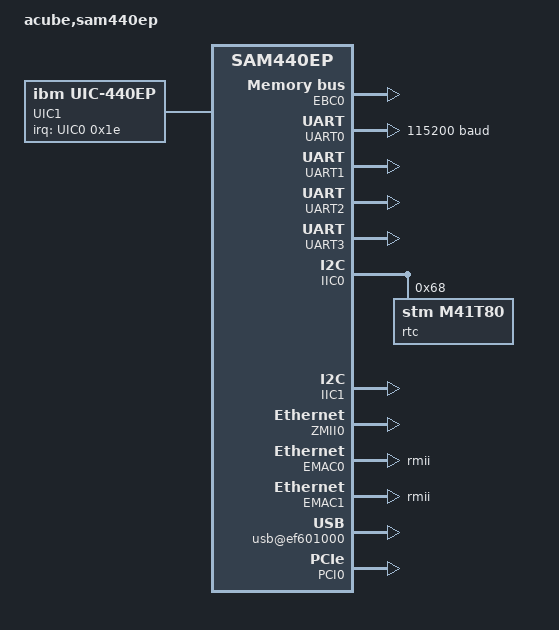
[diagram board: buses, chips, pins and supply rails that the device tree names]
/*
 * Device Tree Source for ACube Sam440ep  based off bamboo.dts code 
 * original copyrights below 
 *
 * Copyright (c) 2006, 2007 IBM Corp.
 * Josh Boyer <jwboyer@linux.vnet.ibm.com>
 *
 * Modified from bamboo.dts for sam440ep:
 * Copyright 2008 Giuseppe Coviello <gicoviello@gmail.com>
 *
 * This file is licensed under the terms of the GNU General Public
 * License version 2.  This program is licensed "as is" without
 * any warranty of any kind, whether express or implied.
 */

/dts-v1/;

/ {
	#address-cells = <2>;
	#size-cells = <1>;
	model = "acube,sam440ep";
	compatible = "acube,sam440ep";

	aliases {
		ethernet0 = &EMAC0;
		ethernet1 = &EMAC1;
		serial0 = &UART0;
		serial1 = &UART1;
		serial2 = &UART2;
		serial3 = &UART3;
	};

	cpus {
		#address-cells = <1>;
		#size-cells = <0>;

		cpu@0 {
			device_type = "cpu";
			model = "PowerPC,440EP";
			reg = <0>;
			clock-frequency = <0>; /* Filled in by zImage */
			timebase-frequency = <0>; /* Filled in by zImage */
			i-cache-line-size = <32>;
			d-cache-line-size = <32>;
			i-cache-size = <32768>;
			d-cache-size = <32768>;
			dcr-controller;
			dcr-access-method = "native";
		};
	};

	memory {
		device_type = "memory";
		reg = <0 0 0>; /* Filled in by zImage */
	};

	UIC0: interrupt-controller0 {
		compatible = "ibm,uic-440ep","ibm,uic";
		interrupt-controller;
		cell-index = <0>;
		dcr-reg = <0x0c0 9>;
		#address-cells = <0>;
		#size-cells = <0>;
		#interrupt-cells = <2>;
	};

	UIC1: interrupt-controller1 {
		compatible = "ibm,uic-440ep","ibm,uic";
		interrupt-controller;
		cell-index = <1>;
		dcr-reg = <0x0d0 9>;
		#address-cells = <0>;
		#size-cells = <0>;
		#interrupt-cells = <2>;
		interrupts = <0x1e 4 0x1f 4>; /* cascade */
		interrupt-parent = <&UIC0>;
	};

	SDR0: sdr {
		compatible = "ibm,sdr-440ep";
		dcr-reg = <0x00e 2>;
	};

	CPR0: cpr {
		compatible = "ibm,cpr-440ep";
		dcr-reg = <0x00c 2>;
	};

	plb {
		compatible = "ibm,plb-440ep", "ibm,plb-440gp", "ibm,plb4";
		#address-cells = <2>;
		#size-cells = <1>;
		ranges;
		clock-frequency = <0>; /* Filled in by zImage */

		SDRAM0: sdram {
			compatible = "ibm,sdram-440ep", "ibm,sdram-405gp";
			dcr-reg = <0x010 2>;
		};

		DMA0: dma {
			compatible = "ibm,dma-440ep", "ibm,dma-440gp";
			dcr-reg = <0x100 0x027>;
		};

		MAL0: mcmal {
			compatible = "ibm,mcmal-440ep", "ibm,mcmal-440gp", "ibm,mcmal";
			dcr-reg = <0x180 0x062>;
			num-tx-chans = <4>;
			num-rx-chans = <2>;
			interrupt-parent = <&MAL0>;
			interrupts = <0 1 2 3 4>;
			#interrupt-cells = <1>;
			#address-cells = <0>;
			#size-cells = <0>;
			interrupt-map = </*TXEOB*/ 0 &UIC0 10 4
					/*RXEOB*/ 1 &UIC0 11 4
					/*SERR*/  2 &UIC1 0 4
					/*TXDE*/  3 &UIC1 1 4
					/*RXDE*/  4 &UIC1 2 4>;
		};

		POB0: opb {
		  	compatible = "ibm,opb-440ep", "ibm,opb-440gp", "ibm,opb";
			#address-cells = <1>;
			#size-cells = <1>;
			/* Bamboo is oddball in the 44x world and doesn't use the ERPN
			 * bits.
			 */
		  	ranges = <0x00000000 0 0x00000000 0x80000000
			          0x80000000 0 0x80000000 0x80000000>;
		  	interrupt-parent = <&UIC1>;
		  	interrupts = <7 4>;
		  	clock-frequency = <0>; /* Filled in by zImage */

			EBC0: ebc {
				compatible = "ibm,ebc-440ep", "ibm,ebc-440gp", "ibm,ebc";
				dcr-reg = <0x012 2>;
				#address-cells = <2>;
				#size-cells = <1>;
				clock-frequency = <0>; /* Filled in by zImage */
				interrupts = <5 1>;
				interrupt-parent = <&UIC1>;
			};

			UART0: serial@ef600300 {
		   		device_type = "serial";
		   		compatible = "ns16550";
		   		reg = <0xef600300 8>;
		   		virtual-reg = <0xef600300>;
		   		clock-frequency = <0>; /* Filled in by zImage */
		   		current-speed = <0x1c200>;
		   		interrupt-parent = <&UIC0>;
		   		interrupts = <0 4>;
	   		};

			UART1: serial@ef600400 {
		   		device_type = "serial";
		   		compatible = "ns16550";
		   		reg = <0xef600400 8>;
		   		virtual-reg = <0xef600400>;
		   		clock-frequency = <0>;
		   		current-speed = <0>;
		   		interrupt-parent = <&UIC0>;
		   		interrupts = <1 4>;
	   		};

			UART2: serial@ef600500 {
		   		device_type = "serial";
		   		compatible = "ns16550";
		   		reg = <0xef600500 8>;
		   		virtual-reg = <0xef600500>;
		   		clock-frequency = <0>;
		   		current-speed = <0>;
		   		interrupt-parent = <&UIC0>;
		   		interrupts = <3 4>;
	   		};

			UART3: serial@ef600600 {
		   		device_type = "serial";
		   		compatible = "ns16550";
		   		reg = <0xef600600 8>;
		   		virtual-reg = <0xef600600>;
		   		clock-frequency = <0>;
		   		current-speed = <0>;
		   		interrupt-parent = <&UIC0>;
		   		interrupts = <4 4>;
	   		};

			IIC0: i2c@ef600700 {
                                #address-cells = <1>;
                                #size-cells = <0>;
				compatible = "ibm,iic-440ep", "ibm,iic-440gp", "ibm,iic";
				index = <0>;
				reg = <0xef600700 0x14>;
				interrupt-parent = <&UIC0>;
				interrupts = <2 4>;
				rtc@68 {
					compatible = "stm,m41t80";
					reg = <0x68>;
				};
			};

			IIC1: i2c@ef600800 {
				compatible = "ibm,iic-440ep", "ibm,iic-440gp", "ibm,iic";
				index = <5>;
				reg = <0xef600800 0x14>;
				interrupt-parent = <&UIC0>;
				interrupts = <7 4>;
			};

			ZMII0: emac-zmii@ef600d00 {
				compatible = "ibm,zmii-440ep", "ibm,zmii-440gp", "ibm,zmii";
				reg = <0xef600d00 0xc>;
			};

			EMAC0: ethernet@ef600e00 {
				linux,network-index = <0>;
				device_type = "network";
				compatible = "ibm,emac-440ep", "ibm,emac-440gp", "ibm,emac";
				interrupt-parent = <&UIC1>;
				interrupts = <0x1c 4 0x1d 4>;
				reg = <0xef600e00 0x70>;
				local-mac-address = [000000000000];
				mal-device = <&MAL0>;
				mal-tx-channel = <0 1>;
				mal-rx-channel = <0>;
				cell-index = <0>;
				max-frame-size = <0x5dc>;
				rx-fifo-size = <0x1000>;
				tx-fifo-size = <0x800>;
				phy-mode = "rmii";
				phy-map = <00000000>;
				zmii-device = <&ZMII0>;
				zmii-channel = <0>;
			};

			EMAC1: ethernet@ef600f00 {
				linux,network-index = <1>;
				device_type = "network";
				compatible = "ibm,emac-440ep", "ibm,emac-440gp", "ibm,emac";
				interrupt-parent = <&UIC1>;
				interrupts = <0x1e 4 0x1f 4>;
				reg = <0xef600f00 0x70>;
				local-mac-address = [000000000000];
				mal-device = <&MAL0>;
				mal-tx-channel = <2 3>;
				mal-rx-channel = <1>;
				cell-index = <1>;
				max-frame-size = <0x5dc>;
				rx-fifo-size = <0x1000>;
				tx-fifo-size = <0x800>;
				phy-mode = "rmii";
				phy-map = <00000000>;
				zmii-device = <&ZMII0>;
				zmii-channel = <1>;
			};
			usb@ef601000 {
				compatible = "ohci-be";
				reg = <0xef601000 0x80>;
				interrupts = <8 4 9 4>;
				interrupt-parent = <&UIC1>;
			};	
		};

		PCI0: pci@ec000000 {
			device_type = "pci";
			#interrupt-cells = <1>;
			#size-cells = <2>;
			#address-cells = <3>;
			compatible = "ibm,plb440ep-pci", "ibm,plb-pci";
			primary;
			reg = <0 0xeec00000 8	   /* Config space access */
			       0 0xeed00000 4	   /* IACK */
			       0 0xeed00000 4	   /* Special cycle */
			       0 0xef400000 0x40>; /* Internal registers */

			/* Outbound ranges, one memory and one IO,
			 * later cannot be changed. Chip supports a second
			 * IO range but we don't use it for now
			 */
			ranges = <0x02000000 0 0xa0000000 0 0xa0000000 0 0x20000000
				  0x01000000 0 0x00000000 0 0xe8000000 0 0x00010000>;

			/* Inbound 2GB range starting at 0 */
			dma-ranges = <0x42000000 0 0 0 0 0 0x80000000>;
		};
	};

	chosen {
		linux,stdout-path = "/plb/opb/serial@ef600300";
	};
};
